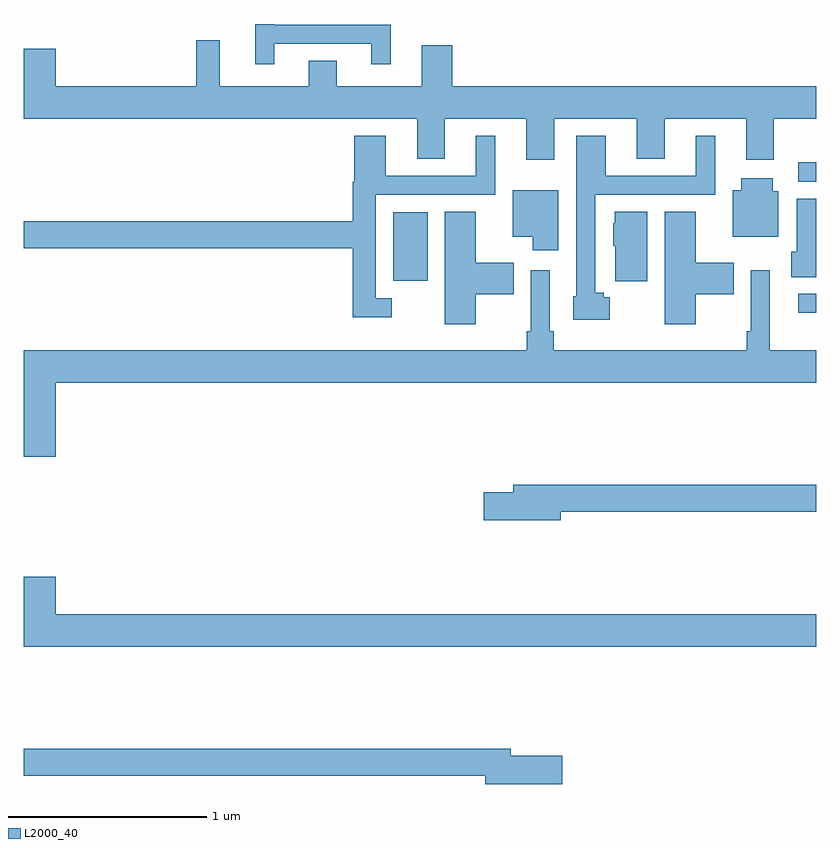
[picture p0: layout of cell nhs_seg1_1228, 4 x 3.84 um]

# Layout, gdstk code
import gdstk
lib = gdstk.Library(unit=1e-6, precision=1e-09)
def R(c, l, rs):  # rectangles x0, y0, x1, y1
    for r in rs: c.add(gdstk.rectangle(r[:2], r[2:], *l))
def P(c, l, *ps):  # polygons
    for p in ps: c.add(gdstk.Polygon(p, *l))
L2000_40 = (2000, 40)

nhs_seg1_1228 = lib.new_cell('nhs_seg1_1228')
R(nhs_seg1_1228, L2000_40, [(180.909,562.74,181,562.836), (178.865,562.904,179.038,563.248), (180.909,563.403,181,563.502)])
P(nhs_seg1_1228, L2000_40, [(178.264,564.099),(178.754,564.099),(178.754,563.997),(178.852,563.997),(178.852,564.195),(178.263,564.195),(178.263,564.199),(178.167,564.199),(178.167,563.997),(178.264,563.997)],
  [(179.677,563.72),(180.095,563.72),(180.095,563.518),(180.235,563.518),(180.235,563.72),(180.647,563.72),(180.647,563.514),(180.787,563.514),(180.787,563.72),(181,563.72),(181,563.884),(179.162,563.884),(179.162,564.091),(179.009,564.091),(179.009,563.884),(178.579,563.884),(178.579,564.014),(178.439,564.014),(178.439,563.884),(177.989,563.884),(177.989,564.118),(177.871,564.118),(177.871,563.884),(177.16,563.884),(177.16,564.073),(177,564.073),(177,563.72),(178.985,563.72),(178.985,563.518),(179.125,563.518),(179.125,563.72),(179.537,563.72),(179.537,563.514),(179.677,563.514)],
  [(178.858,562.815),(178.776,562.815),(178.776,563.337),(179.38,563.337),(179.38,563.635),(179.282,563.635),(179.282,563.433),(178.828,563.433),(178.828,563.635),(178.667,563.635),(178.667,563.402),(178.66,563.402),(178.66,563.204),(177,563.204),(177,563.068),(178.66,563.068),(178.66,562.718),(178.858,562.718)],
  [(179.959,562.82),(179.928,562.82),(179.928,562.841),(179.886,562.841),(179.886,563.337),(180.49,563.337),(180.49,563.635),(180.392,563.635),(180.392,563.433),(179.938,563.433),(179.938,563.635),(179.79,563.635),(179.79,563.03),(179.789,563.03),(179.789,562.824),(179.774,562.824),(179.774,562.706),(179.959,562.706)],
  [(180.808,563.355),(180.781,563.355),(180.781,563.419),(180.623,563.419),(180.623,563.359),(180.578,563.359),(180.578,563.126),(180.808,563.126)],
  [(179.698,563.359),(179.468,563.359),(179.468,563.126),(179.57,563.126),(179.57,563.057),(179.698,563.057)],
  [(181,563.318),(180.902,563.318),(180.902,563.049),(180.875,563.049),(180.875,562.921),(181,562.921)],
  [(180.148,563.252),(179.984,563.252),(179.984,563.193),(179.975,563.193),(179.975,563.079),(179.985,563.079),(179.985,562.899),(180.148,562.899)],
  [(179.281,562.835),(179.474,562.835),(179.474,562.993),(179.281,562.993),(179.281,563.252),(179.126,563.252),(179.126,562.683),(179.281,562.683)],
  [(180.391,562.835),(180.584,562.835),(180.584,562.993),(180.391,562.993),(180.391,563.252),(180.236,563.252),(180.236,562.683),(180.391,562.683)],
  [(177.16,562.388),(181,562.388),(181,562.552),(180.766,562.552),(180.766,562.957),(180.669,562.957),(180.669,562.648),(180.649,562.648),(180.649,562.552),(179.675,562.552),(179.675,562.648),(179.655,562.648),(179.655,562.957),(179.559,562.957),(179.559,562.648),(179.539,562.648),(179.539,562.552),(177,562.552),(177,562.014),(177.16,562.014)],
  [(179.71,561.736),(181,561.736),(181,561.872),(179.471,561.872),(179.471,561.836),(179.322,561.836),(179.322,561.694),(179.71,561.694)],
  [(181,561.22),(177.16,561.22),(177.16,561.409),(177,561.409),(177,561.056),(181,561.056)],
  [(179.719,560.504),(179.458,560.504),(179.458,560.54),(177,560.54),(177,560.404),(179.33,560.404),(179.33,560.362),(179.719,560.362)])

lib.write_gds('nhs_seg1_1228.gds')
